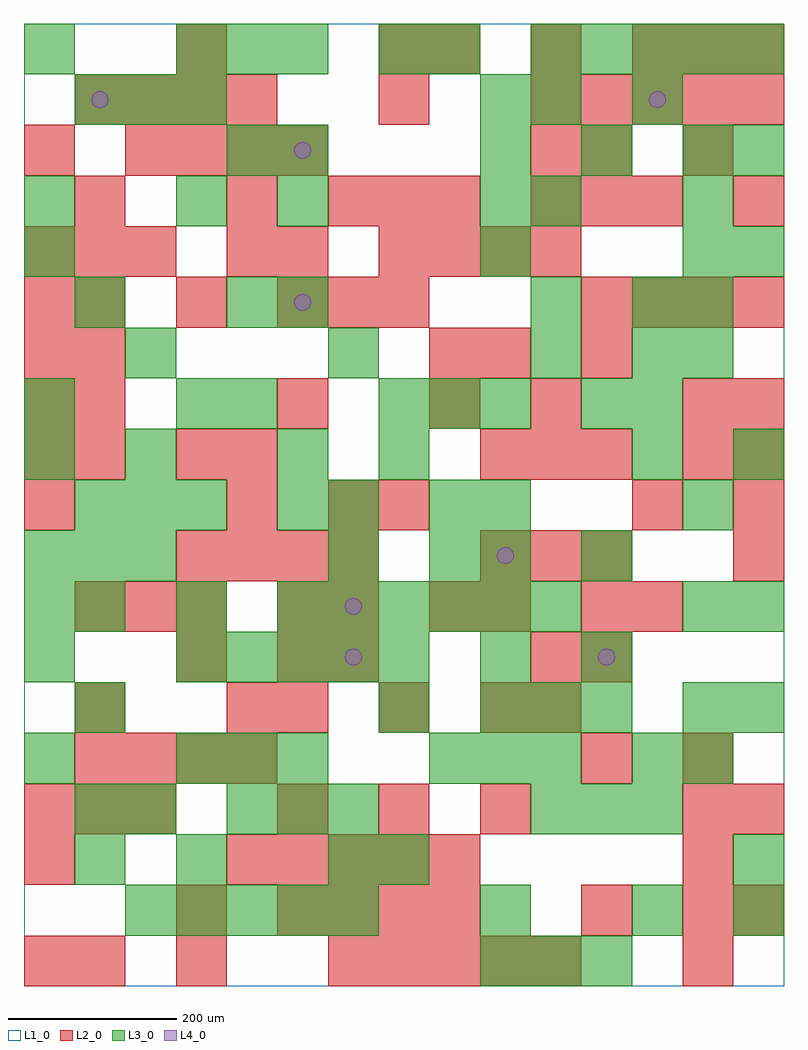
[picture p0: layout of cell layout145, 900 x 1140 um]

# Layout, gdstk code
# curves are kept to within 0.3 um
import gdstk
lib = gdstk.Library(unit=1e-6, precision=1e-09)
def R(c, l, rs):  # rectangles x0, y0, x1, y1
    for r in rs: c.add(gdstk.rectangle(r[:2], r[2:], *l))
def A(c, l, x, y, w, h, nx, ny, dx, dy):  # array of equal rectangles
    R(c, l, [(x+i*dx, y+j*dy, x+i*dx+w, y+j*dy+h) for i in range(nx) for j in range(ny)])
def P(c, l, *ps):  # polygons
    for p in ps: c.add(gdstk.Polygon(p, *l))
L1_0 = (1, 0)
L2_0 = (2, 0)
L3_0 = (3, 0)
L4_0 = (4, 0)

layout145 = lib.new_cell('layout145')
R(layout145, L1_0, [(0,0,900,1140)])
A(layout145, L2_0, 60, 0, 60, 60, 1, 3, 0, 300)
A(layout145, L2_0, 360, 0, 60, 60, 5, 1, 60, 0)
A(layout145, L2_0, 780, 0, 60, 60, 1, 5, 0, 60)
A(layout145, L2_0, 300, 60, 60, 60, 4, 1, 60, 0)
A(layout145, L2_0, 240, 120, 60, 60, 5, 1, 60, 0)
A(layout145, L2_0, 0, 180, 60, 60, 3, 2, 60, 660)
A(layout145, L2_0, 300, 180, 60, 60, 3, 2, 120, 120)
A(layout145, L2_0, 60, 240, 60, 60, 4, 2, 60, 780)
A(layout145, L2_0, 600, 360, 60, 60, 1, 3, 0, 300)
A(layout145, L2_0, 60, 420, 60, 60, 3, 1, 60, 0)
A(layout145, L2_0, 180, 480, 60, 60, 4, 1, 60, 0)
A(layout145, L2_0, 540, 480, 60, 60, 3, 2, 60, 120)
A(layout145, L2_0, 840, 480, 60, 60, 1, 4, 0, 60)
A(layout145, L2_0, 0, 540, 60, 60, 1, 5, 0, 60)
A(layout145, L2_0, 420, 540, 60, 60, 1, 3, 0, 240)
A(layout145, L2_0, 60, 780, 60, 60, 3, 1, 120, 0)
A(layout145, L2_0, 660, 780, 60, 60, 4, 1, 60, 0)
A(layout145, L2_0, 420, 840, 60, 60, 4, 1, 60, 0)
A(layout145, L2_0, 360, 900, 60, 60, 3, 1, 60, 0)
A(layout145, L2_0, 600, 900, 60, 60, 3, 1, 60, 0)
A(layout145, L2_0, 120, 960, 60, 60, 4, 1, 60, 0)
A(layout145, L2_0, 600, 1020, 60, 60, 5, 1, 60, 0)
A(layout145, L2_0, 480, 1080, 60, 60, 3, 1, 120, 0)
R(layout145, L2_0, [(0,0,60,60), (180,0,240,60), (180,60,240,120), (660,60,720,120), (840,60,900,120), (0,120,60,180), (840,180,900,240), (660,240,720,300), (240,300,300,360), (600,300,660,360), (180,360,240,420), (300,360,360,420), (360,360,420,420), (660,360,720,420), (300,420,360,480), (360,420,420,480), (480,420,540,480), (540,420,600,480), (660,420,720,480), (720,420,780,480), (240,540,300,600), (360,540,420,600), (720,540,780,600), (180,600,240,660), (240,600,300,660), (780,600,840,660), (60,660,120,720), (300,660,360,720), (480,660,540,720), (780,660,840,720), (60,720,120,780), (480,720,540,780), (540,720,600,780), (660,720,720,780), (360,780,420,840), (240,840,300,900), (300,840,360,900), (60,900,120,960), (240,900,300,960), (840,900,900,960), (0,960,60,1020), (660,960,720,1020), (780,960,840,1020), (180,1080,240,1140), (420,1080,480,1140), (780,1080,840,1140), (840,1080,900,1140)])
A(layout145, L3_0, 540, 0, 60, 60, 3, 2, 60, 300)
A(layout145, L3_0, 120, 60, 60, 60, 5, 1, 60, 0)
A(layout145, L3_0, 240, 180, 60, 60, 3, 1, 60, 0)
A(layout145, L3_0, 600, 180, 60, 60, 3, 1, 60, 0)
A(layout145, L3_0, 180, 240, 60, 60, 3, 2, 60, 840)
A(layout145, L3_0, 480, 240, 60, 60, 3, 1, 60, 0)
A(layout145, L3_0, 780, 300, 60, 60, 1, 3, 0, 120)
A(layout145, L3_0, 180, 360, 60, 60, 5, 1, 60, 0)
A(layout145, L3_0, 60, 420, 60, 60, 3, 1, 120, 0)
A(layout145, L3_0, 360, 420, 60, 60, 5, 1, 60, 0)
A(layout145, L3_0, 0, 480, 60, 60, 3, 1, 60, 0)
A(layout145, L3_0, 60, 540, 60, 60, 3, 2, 60, 480)
A(layout145, L3_0, 720, 600, 60, 60, 1, 4, 0, 60)
A(layout145, L3_0, 420, 660, 60, 60, 3, 1, 60, 0)
A(layout145, L3_0, 120, 720, 60, 60, 3, 1, 240, 0)
A(layout145, L3_0, 780, 720, 60, 60, 1, 4, 0, 60)
A(layout145, L3_0, 600, 780, 60, 60, 1, 3, 0, 120)
A(layout145, L3_0, 540, 960, 60, 60, 3, 1, 120, 0)
A(layout145, L3_0, 600, 1080, 60, 60, 5, 1, 60, 0)
R(layout145, L3_0, [(540,60,600,120), (720,60,780,120), (840,60,900,120), (60,120,120,180), (180,120,240,180), (360,120,420,180), (420,120,480,180), (840,120,900,180), (60,180,120,240), (120,180,180,240), (0,240,60,300), (720,240,780,300), (780,240,840,300), (60,300,120,360), (420,300,480,360), (840,300,900,360), (0,360,60,420), (540,360,600,420), (660,360,720,420), (0,420,60,480), (840,420,900,480), (360,480,420,540), (480,480,540,540), (540,480,600,540), (660,480,720,540), (300,540,360,600), (360,540,420,600), (480,540,540,600), (540,540,600,600), (0,600,60,660), (120,600,180,660), (300,600,360,660), (420,600,480,660), (840,600,900,660), (0,660,60,720), (180,660,240,720), (240,660,300,720), (660,660,720,720), (60,780,120,840), (240,780,300,840), (300,780,360,840), (0,840,60,900), (540,840,600,900), (840,840,900,900), (0,900,60,960), (180,900,240,960), (300,900,360,960), (540,900,600,960), (240,960,300,1020), (300,960,360,1020), (840,960,900,1020), (540,1020,600,1080), (720,1020,780,1080), (0,1080,60,1140), (420,1080,480,1140), (480,1080,540,1140)])
P(layout145, L4_0, [(100,1050),(99.239,1053.827),(97.071,1057.071),(93.827,1059.239),(90,1060),(86.173,1059.239),(82.929,1057.071),(80.761,1053.827),(80,1050),(80.761,1046.173),(82.929,1042.929),(86.173,1040.761),(90,1040),(93.827,1040.761),(97.071,1042.929),(99.239,1046.173)],
  [(340,810),(339.239,813.827),(337.071,817.071),(333.827,819.239),(330,820),(326.173,819.239),(322.929,817.071),(320.761,813.827),(320,810),(320.761,806.173),(322.929,802.929),(326.173,800.761),(330,800),(333.827,800.761),(337.071,802.929),(339.239,806.173)],
  [(340,990),(339.239,993.827),(337.071,997.071),(333.827,999.239),(330,1000),(326.173,999.239),(322.929,997.071),(320.761,993.827),(320,990),(320.761,986.173),(322.929,982.929),(326.173,980.761),(330,980),(333.827,980.761),(337.071,982.929),(339.239,986.173)],
  [(400,390),(399.239,393.827),(397.071,397.071),(393.827,399.239),(390,400),(386.173,399.239),(382.929,397.071),(380.761,393.827),(380,390),(380.761,386.173),(382.929,382.929),(386.173,380.761),(390,380),(393.827,380.761),(397.071,382.929),(399.239,386.173)],
  [(400,450),(399.239,453.827),(397.071,457.071),(393.827,459.239),(390,460),(386.173,459.239),(382.929,457.071),(380.761,453.827),(380,450),(380.761,446.173),(382.929,442.929),(386.173,440.761),(390,440),(393.827,440.761),(397.071,442.929),(399.239,446.173)],
  [(580,510),(579.239,513.827),(577.071,517.071),(573.827,519.239),(570,520),(566.173,519.239),(562.929,517.071),(560.761,513.827),(560,510),(560.761,506.173),(562.929,502.929),(566.173,500.761),(570,500),(573.827,500.761),(577.071,502.929),(579.239,506.173)],
  [(700,390),(699.239,393.827),(697.071,397.071),(693.827,399.239),(690,400),(686.173,399.239),(682.929,397.071),(680.761,393.827),(680,390),(680.761,386.173),(682.929,382.929),(686.173,380.761),(690,380),(693.827,380.761),(697.071,382.929),(699.239,386.173)],
  [(760,1050),(759.239,1053.827),(757.071,1057.071),(753.827,1059.239),(750,1060),(746.173,1059.239),(742.929,1057.071),(740.761,1053.827),(740,1050),(740.761,1046.173),(742.929,1042.929),(746.173,1040.761),(750,1040),(753.827,1040.761),(757.071,1042.929),(759.239,1046.173)])

lib.write_gds('layout145.gds')
